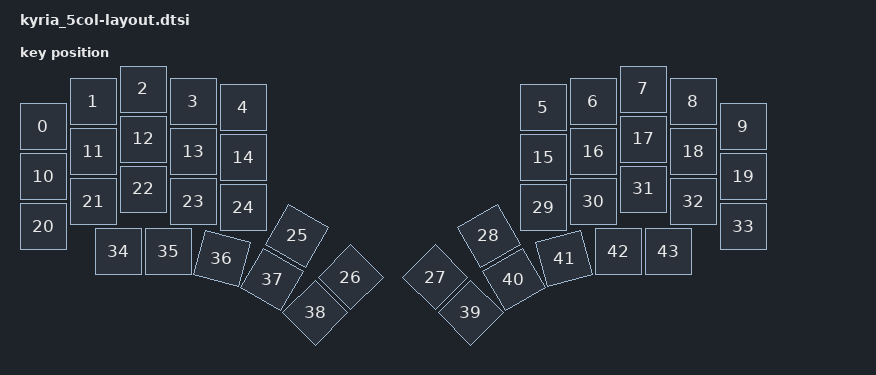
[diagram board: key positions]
#include <physical_layouts.dtsi>
#include "position_map.dtsi"

/{
    splitkb_kyria_5col_layout: splitkb_kyria_5col_layout {
        compatible = "zmk,physical-layout";
        display-name = "5 Column";
        transform = <&five_column_transform>;

        keys  //                     w   h    x    y     rot    rx    ry
            = <&key_physical_attrs 100 100    0   75       0     0     0>
            , <&key_physical_attrs 100 100  100   25       0     0     0>
            , <&key_physical_attrs 100 100  200    0       0     0     0>
            , <&key_physical_attrs 100 100  300   25       0     0     0>
            , <&key_physical_attrs 100 100  400   37       0     0     0>
            , <&key_physical_attrs 100 100 1000   37       0     0     0>
            , <&key_physical_attrs 100 100 1100   25       0     0     0>
            , <&key_physical_attrs 100 100 1200    0       0     0     0>
            , <&key_physical_attrs 100 100 1300   25       0     0     0>
            , <&key_physical_attrs 100 100 1400   75       0     0     0>
            , <&key_physical_attrs 100 100    0  175       0     0     0>
            , <&key_physical_attrs 100 100  100  125       0     0     0>
            , <&key_physical_attrs 100 100  200  100       0     0     0>
            , <&key_physical_attrs 100 100  300  125       0     0     0>
            , <&key_physical_attrs 100 100  400  137       0     0     0>
            , <&key_physical_attrs 100 100 1000  137       0     0     0>
            , <&key_physical_attrs 100 100 1100  125       0     0     0>
            , <&key_physical_attrs 100 100 1200  100       0     0     0>
            , <&key_physical_attrs 100 100 1300  125       0     0     0>
            , <&key_physical_attrs 100 100 1400  175       0     0     0>
            , <&key_physical_attrs 100 100    0  275       0     0     0>
            , <&key_physical_attrs 100 100  100  225       0     0     0>
            , <&key_physical_attrs 100 100  200  200       0     0     0>
            , <&key_physical_attrs 100 100  300  225       0     0     0>
            , <&key_physical_attrs 100 100  400  237       0     0     0>
            , <&key_physical_attrs 100 100  250  225    3000   300   792>
            , <&key_physical_attrs 100 100  250  225    4500   300   792>
            , <&key_physical_attrs 100 100 1150  225 (-4500)  1200   792>
            , <&key_physical_attrs 100 100 1150  225 (-3000)  1200   792>
            , <&key_physical_attrs 100 100 1000  237       0     0     0>
            , <&key_physical_attrs 100 100 1100  225       0     0     0>
            , <&key_physical_attrs 100 100 1200  200       0     0     0>
            , <&key_physical_attrs 100 100 1300  225       0     0     0>
            , <&key_physical_attrs 100 100 1400  275       0     0     0>
            , <&key_physical_attrs 100 100  150  325       0     0     0>
            , <&key_physical_attrs 100 100  250  325       0     0     0>
            , <&key_physical_attrs 100 100  250  325    1500   300   792>
            , <&key_physical_attrs 100 100  250  325    3000   300   792>
            , <&key_physical_attrs 100 100  250  325    4500   300   792>
            , <&key_physical_attrs 100 100 1150  325 (-4500)  1200   792>
            , <&key_physical_attrs 100 100 1150  325 (-3000)  1200   792>
            , <&key_physical_attrs 100 100 1150  325 (-1500)  1200   792>
            , <&key_physical_attrs 100 100 1150  325       0     0     0>
            , <&key_physical_attrs 100 100 1250  325       0     0     0>
            ;
    };
};

&splitkb_kyria_position_map {
    ten {
        physical-layout = <&splitkb_kyria_5col_layout>;
        positions
            = <44  0  1  2  3  4              5  6  7  8  9 47>
            , <45 10 11 12 13 14             15 16 17 18 19 48>
            , <46 20 21 22 23 24 25 26 27 28 29 30 31 32 33 49>
            , <      34 35 36 37 38 39 40 41 42 43            >;
    };
};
